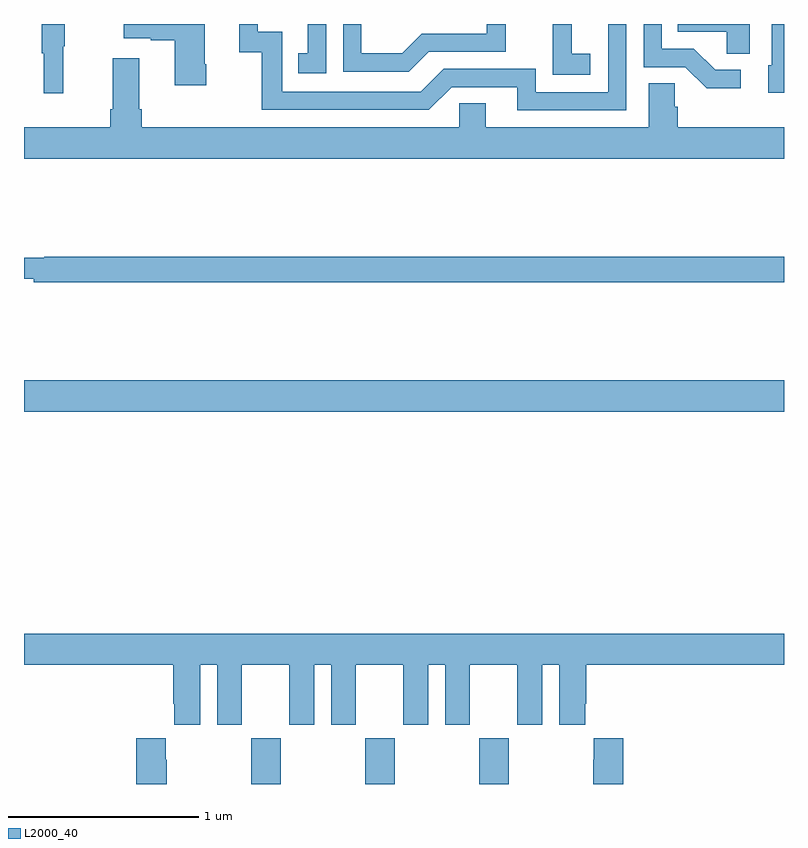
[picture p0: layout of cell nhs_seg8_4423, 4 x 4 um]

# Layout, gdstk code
import gdstk
lib = gdstk.Library(unit=1e-6, precision=1e-09)
def R(c, l, rs):  # rectangles x0, y0, x1, y1
    for r in rs: c.add(gdstk.rectangle(r[:2], r[2:], *l))
def A(c, l, x, y, w, h, nx, ny, dx, dy):  # array of equal rectangles
    R(c, l, [(x+i*dx, y+j*dy, x+i*dx+w, y+j*dy+h) for i in range(nx) for j in range(ny)])
def P(c, l, *ps):  # polygons
    for p in ps: c.add(gdstk.Polygon(p, *l))
L2000_40 = (2000, 40)

nhs_seg8_4423 = lib.new_cell('nhs_seg8_4423')
A(nhs_seg8_4423, L2000_40, 382.195, 1087.9, 0.155, 0.24, 3, 1, 0.6, 0)
R(nhs_seg8_4423, L2000_40, [(381,1089.86,385,1090.024)])
P(nhs_seg8_4423, L2000_40, [(381.206,1091.784),(381.214,1091.784),(381.214,1091.9),(381.093,1091.9),(381.093,1091.747),(381.104,1091.747),(381.104,1091.535),(381.206,1091.535)],
  [(384.82,1091.9),(384.442,1091.9),(384.442,1091.858),(384.699,1091.858),(384.699,1091.743),(384.82,1091.743)],
  [(381.96,1091.689),(381.952,1091.689),(381.952,1091.9),(381.525,1091.9),(381.525,1091.825),(381.668,1091.825),(381.668,1091.815),(381.794,1091.815),(381.794,1091.577),(381.96,1091.577)],
  [(384.772,1091.658),(384.637,1091.658),(384.526,1091.769),(384.357,1091.769),(384.357,1091.9),(384.261,1091.9),(384.261,1091.673),(384.48,1091.673),(384.593,1091.561),(384.772,1091.561)],
  [(383.98,1091.743),(383.882,1091.743),(383.882,1091.9),(383.783,1091.9),(383.783,1091.839),(383.782,1091.839),(383.782,1091.633),(383.98,1091.633)],
  [(383.131,1091.754),(383.535,1091.754),(383.535,1091.9),(383.436,1091.9),(383.436,1091.85),(383.094,1091.85),(382.99,1091.746),(382.776,1091.746),(382.776,1091.9),(382.68,1091.9),(382.68,1091.649),(383.026,1091.649)],
  [(382.59,1091.9),(382.493,1091.9),(382.493,1091.745),(382.444,1091.745),(382.444,1091.64),(382.59,1091.64)],
  [(385,1091.9),(384.936,1091.9),(384.936,1091.682),(384.917,1091.682),(384.917,1091.538),(385,1091.538)],
  [(384.171,1091.9),(384.075,1091.9),(384.075,1091.541),(383.694,1091.541),(383.694,1091.664),(383.208,1091.664),(383.088,1091.544),(382.359,1091.544),(382.359,1091.859),(382.23,1091.859),(382.23,1091.9),(382.133,1091.9),(382.133,1091.751),(382.251,1091.751),(382.251,1091.448),(383.13,1091.448),(383.25,1091.568),(383.597,1091.568),(383.597,1091.445),(384.171,1091.445)],
  [(383.292,1091.483),(383.292,1091.356),(381.62,1091.356),(381.62,1091.452),(381.607,1091.452),(381.607,1091.719),(381.467,1091.719),(381.467,1091.452),(381.455,1091.452),(381.455,1091.356),(381,1091.356),(381,1091.192),(385,1091.192),(385,1091.356),(384.44,1091.356),(384.44,1091.465),(384.426,1091.465),(384.426,1091.588),(384.287,1091.588),(384.287,1091.356),(383.431,1091.356),(383.431,1091.483)],
  [(385,1090.676),(381.107,1090.676),(381.107,1090.669),(381,1090.669),(381,1090.559),(381.052,1090.559),(381.052,1090.54),(385,1090.54)],
  [(381,1088.528),(381.785,1088.528),(381.785,1088.323),(381.791,1088.323),(381.791,1088.211),(381.928,1088.211),(381.928,1088.528),(382.016,1088.528),(382.016,1088.211),(382.147,1088.211),(382.147,1088.528),(382.397,1088.528),(382.397,1088.211),(382.528,1088.211),(382.528,1088.528),(382.616,1088.528),(382.616,1088.211),(382.747,1088.211),(382.747,1088.528),(382.997,1088.528),(382.997,1088.211),(383.128,1088.211),(383.128,1088.528),(383.216,1088.528),(383.216,1088.211),(383.347,1088.211),(383.347,1088.528),(383.597,1088.528),(383.597,1088.211),(383.728,1088.211),(383.728,1088.528),(383.816,1088.528),(383.816,1088.211),(383.953,1088.211),(383.953,1088.323),(383.96,1088.323),(383.96,1088.528),(385,1088.528),(385,1088.692),(381,1088.692)],
  [(384.155,1088.14),(383.999,1088.14),(383.999,1088.027),(383.995,1088.027),(383.995,1087.9),(384.155,1087.9)],
  [(381.75,1088.027),(381.745,1088.027),(381.745,1088.14),(381.59,1088.14),(381.59,1087.9),(381.75,1087.9)])

lib.write_gds('nhs_seg8_4423.gds')
